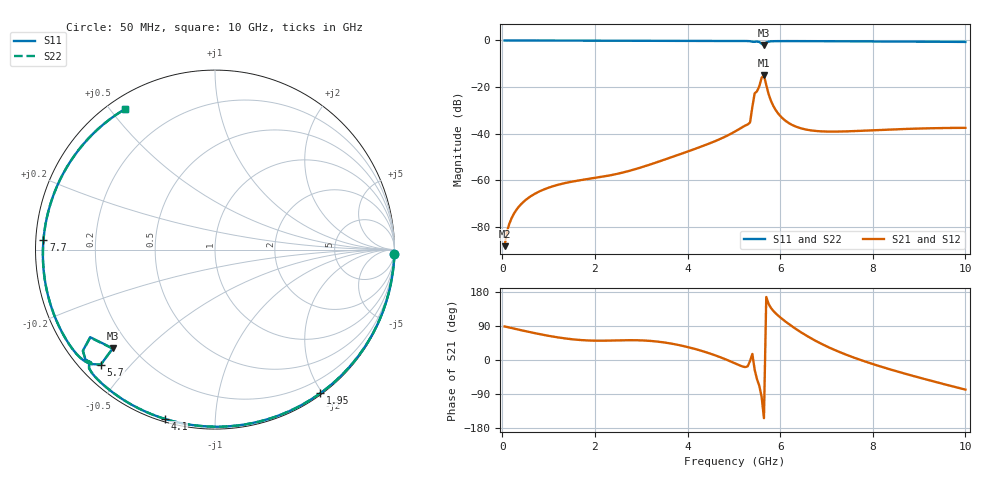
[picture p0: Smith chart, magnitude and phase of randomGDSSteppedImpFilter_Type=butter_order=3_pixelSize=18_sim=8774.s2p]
! freq	dB(S11)	phase(S11)	dB(S12)	phase(S12)
!  dB(S21)	phase(S21)	dB(S22)	phase(S22)
!S-par simulation data
#  GHz  S  DB  R 50
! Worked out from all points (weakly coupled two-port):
!   200 points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, 50 MHz to 10 GHz, reference 50 ohm
!   highest |S21| = -14.94 dB at 5.65 GHz (marker M1); lowest = -88.3 dB at 50 MHz (marker M2)
!   lowest |S11| = -2.0 dB at 5.65 GHz (marker M3), VSWR 8.62, Z = 6.73 - j19.9 ohm
!   |S11| at or under -10 dB: nowhere
!   |S22| runs from -2.0 to 0.0 dB; largest |S21 - S12| = 0
!   S11 on the Smith chart (normalised r, x): 50 MHz: 0, -80; 1.95 GHz: 0.02, -1.97; 4.1 GHz: 0.01, -0.75; 5.7 GHz: 0.06, -0.42; 7.7 GHz: 0.02, +0.03; 10 GHz: 0.05, +0.55
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0.05  -0.00 -1.4  -88.27 88.5  -88.27 88.5  -0.00 -1.4
0.15  -0.01 -4.3  -78.75 85.7  -78.75 85.7  -0.01 -4.3
0.35  -0.02 -9.9  -71.50 80.2  -71.50 80.2  -0.02 -9.9
0.65  -0.02 -18.4  -66.40 72.2  -66.40 72.2  -0.02 -18.3
1.75  -0.06 -48.5  -59.75 52.2  -59.75 52.2  -0.06 -48.5
1.95  -0.07 -53.8  -59.14 51.1  -59.14 51.1  -0.07 -53.8
3.4  -0.12 -90.2  -51.84 47.9  -51.84 47.9  -0.12 -90.2
4.1  -0.14 -106.6  -46.97 31.1  -46.97 31.1  -0.14 -106.6
5.05  -0.20 -128.4  -38.78 -10.2  -38.78 -10.2  -0.20 -128.4
5.35  -0.32 -136.7  -35.17 -2.6  -35.17 -2.6  -0.32 -136.7
5.45  -0.58 -137.5  -22.65 -25.9  -22.65 -25.9  -0.59 -137.5
5.55  -0.65 -142.6  -19.61 -68.1  -19.61 -68.1  -0.65 -142.5
5.6  -1.42 -144.9  -16.01 -97.4  -16.01 -97.4  -1.41 -144.8
5.65  -2.02 -136.0  -14.94 -153.6  -14.94 -153.6  -2.01 -136.0
5.7  -0.88 -134.8  -19.12 166.3  -19.12 166.3  -0.88 -134.8
5.85  -0.33 -141.5  -28.01 130.0  -28.01 130.0  -0.33 -141.5
6.05  -0.28 -147.0  -33.36 107.7  -33.36 107.7  -0.28 -146.9
6.35  -0.28 -153.9  -37.04 81.1  -37.04 81.1  -0.28 -153.9
6.7  -0.30 -161.6  -38.68 55.0  -38.68 55.0  -0.30 -161.5
7.7  -0.38 176.8  -38.81 1.6  -38.81 1.6  -0.38 176.8
8.35  -0.44 162.4  -38.24 -23.9  -38.24 -23.9  -0.44 162.4
10  -0.63 122.5  -37.49 -78.1  -37.49 -78.1  -0.63 122.6
